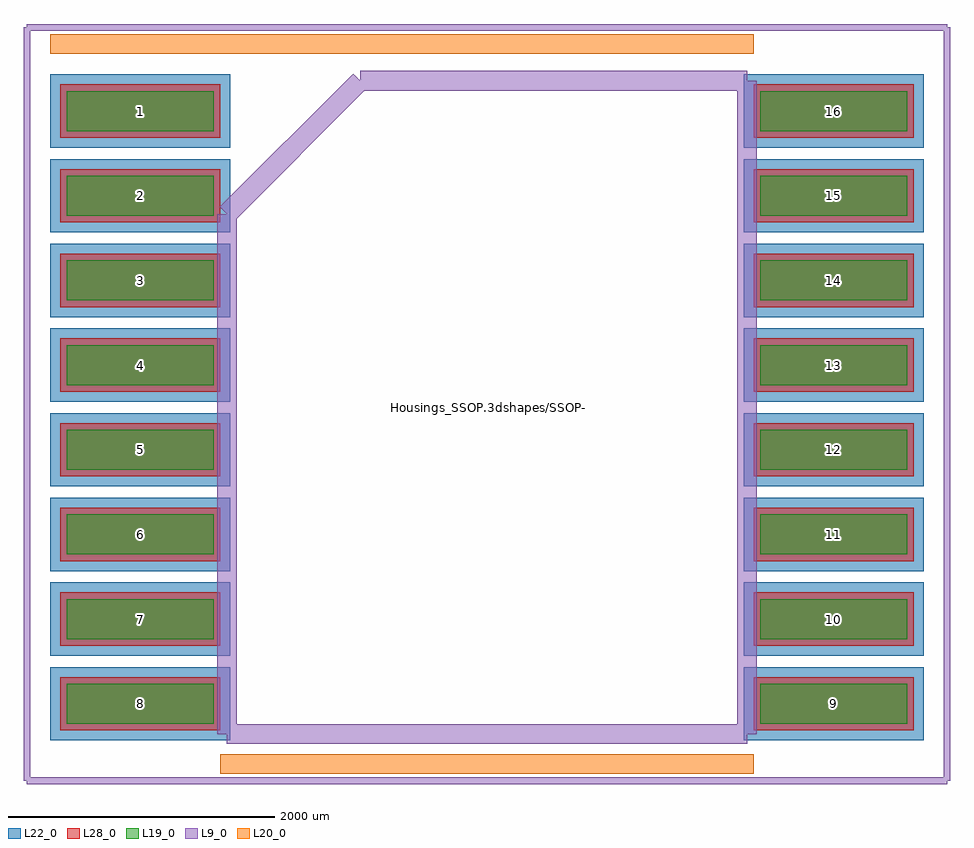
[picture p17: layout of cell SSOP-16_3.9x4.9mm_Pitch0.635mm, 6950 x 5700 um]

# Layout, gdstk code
import gdstk
lib = gdstk.Library(unit=1e-6, precision=1e-09)
def R(c, l, rs):  # rectangles x0, y0, x1, y1
    for r in rs: c.add(gdstk.rectangle(r[:2], r[2:], *l))
def A(c, l, x, y, w, h, nx, ny, dx, dy):  # array of equal rectangles
    R(c, l, [(x+i*dx, y+j*dy, x+i*dx+w, y+j*dy+h) for i in range(nx) for j in range(ny)])
L9_0 = (9, 0)
L19_0 = (19, 0)
L20_0 = (20, 0)
L22_0 = (22, 0)
L28_0 = (28, 0)

ssop_16_3_9x4_9mm_pitch0 = lib.new_cell('SSOP-16_3.9x4.9mm_Pitch0.635mm')
A(ssop_16_3_9x4_9mm_pitch0, L19_0, -3150, -2372.5, 1100, 300, 1, 8, 0, 635)
A(ssop_16_3_9x4_9mm_pitch0, L19_0, 2050, -2372.5, 1100, 300, 1, 8, 0, 635)
A(ssop_16_3_9x4_9mm_pitch0, L22_0, -3275, -2497.5, 1350, 550, 1, 8, 0, 635)
A(ssop_16_3_9x4_9mm_pitch0, L22_0, 1925, -2497.5, 1350, 550, 1, 8, 0, 635)
A(ssop_16_3_9x4_9mm_pitch0, L28_0, -3200, -2422.5, 1200, 400, 1, 8, 0, 635)
A(ssop_16_3_9x4_9mm_pitch0, L28_0, 2000, -2422.5, 1200, 400, 1, 8, 0, 635)
ssop_16_3_9x4_9mm_pitch0.add(gdstk.FlexPath([(-3275,2725),(2000,2725)], 149.998, ends="flush", simple_path=True, layer=20, datatype=0))  # L20_0
ssop_16_3_9x4_9mm_pitch0.add(gdstk.FlexPath([(-2000,-2675),(2000,-2675)], 149.998, ends="flush", simple_path=True, layer=20, datatype=0))  # L20_0
ssop_16_3_9x4_9mm_pitch0.add(gdstk.FlexPath([(-3450,-2800),(3450,-2800)], 50, ends="flush", simple_path=True, layer=9, datatype=0))  # L9_0
ssop_16_3_9x4_9mm_pitch0.add(gdstk.FlexPath([(-3450,2850),(3450,2850)], 50, ends="flush", simple_path=True, layer=9, datatype=0))  # L9_0
ssop_16_3_9x4_9mm_pitch0.add(gdstk.FlexPath([(3450,2850),(3450,-2800)], 50, ends="flush", simple_path=True, layer=9, datatype=0))  # L9_0
ssop_16_3_9x4_9mm_pitch0.add(gdstk.FlexPath([(-3450,2850),(-3450,-2800)], 50, ends="flush", simple_path=True, layer=9, datatype=0))  # L9_0
ssop_16_3_9x4_9mm_pitch0.add(gdstk.FlexPath([(-1950,1450),(-950,2450)], 149.998, ends="flush", simple_path=True, layer=9, datatype=0))  # L9_0
ssop_16_3_9x4_9mm_pitch0.add(gdstk.FlexPath([(-1950,-2450),(-1950,1450)], 149.998, ends="flush", simple_path=True, layer=9, datatype=0))  # L9_0
ssop_16_3_9x4_9mm_pitch0.add(gdstk.FlexPath([(1950,-2450),(-1950,-2450)], 149.998, ends="flush", simple_path=True, layer=9, datatype=0))  # L9_0
ssop_16_3_9x4_9mm_pitch0.add(gdstk.FlexPath([(1950,2450),(1950,-2450)], 149.998, ends="flush", simple_path=True, layer=9, datatype=0))  # L9_0
ssop_16_3_9x4_9mm_pitch0.add(gdstk.FlexPath([(-950,2450),(1950,2450)], 149.998, ends="flush", simple_path=True, layer=9, datatype=0))  # L9_0
ssop_16_3_9x4_9mm_pitch0.add(gdstk.Label('Housings_SSOP.3dshapes/SSOP-16_3.9x4.9mm_Pitch0.635mm.wrl', (0,0), layer=12, texttype=0))
ssop_16_3_9x4_9mm_pitch0.add(gdstk.Label('16', (2600,2222.5), layer=28, texttype=0))
ssop_16_3_9x4_9mm_pitch0.add(gdstk.Label('15', (2600,1587.5), layer=28, texttype=0))
ssop_16_3_9x4_9mm_pitch0.add(gdstk.Label('14', (2600,952.5), layer=28, texttype=0))
ssop_16_3_9x4_9mm_pitch0.add(gdstk.Label('13', (2600,317.5), layer=28, texttype=0))
ssop_16_3_9x4_9mm_pitch0.add(gdstk.Label('12', (2600,-317.5), layer=28, texttype=0))
ssop_16_3_9x4_9mm_pitch0.add(gdstk.Label('11', (2600,-952.5), layer=28, texttype=0))
ssop_16_3_9x4_9mm_pitch0.add(gdstk.Label('10', (2600,-1587.5), layer=28, texttype=0))
ssop_16_3_9x4_9mm_pitch0.add(gdstk.Label('9', (2600,-2222.5), layer=28, texttype=0))
ssop_16_3_9x4_9mm_pitch0.add(gdstk.Label('8', (-2600,-2222.5), layer=28, texttype=0))
ssop_16_3_9x4_9mm_pitch0.add(gdstk.Label('7', (-2600,-1587.5), layer=28, texttype=0))
ssop_16_3_9x4_9mm_pitch0.add(gdstk.Label('6', (-2600,-952.5), layer=28, texttype=0))
ssop_16_3_9x4_9mm_pitch0.add(gdstk.Label('5', (-2600,-317.5), layer=28, texttype=0))
ssop_16_3_9x4_9mm_pitch0.add(gdstk.Label('4', (-2600,317.5), layer=28, texttype=0))
ssop_16_3_9x4_9mm_pitch0.add(gdstk.Label('3', (-2600,952.5), layer=28, texttype=0))
ssop_16_3_9x4_9mm_pitch0.add(gdstk.Label('2', (-2600,1587.5), layer=28, texttype=0))
ssop_16_3_9x4_9mm_pitch0.add(gdstk.Label('1', (-2600,2222.5), layer=28, texttype=0))
ssop_16_3_9x4_9mm_pitch0.add(gdstk.Label('type', (0,-3500), layer=9, texttype=0))
ssop_16_3_9x4_9mm_pitch0.add(gdstk.Label('devicename', (0,3500), layer=9, texttype=0))

lib.write_gds('SSOP-16_3.9x4.9mm_Pitch0.635mm.gds')
